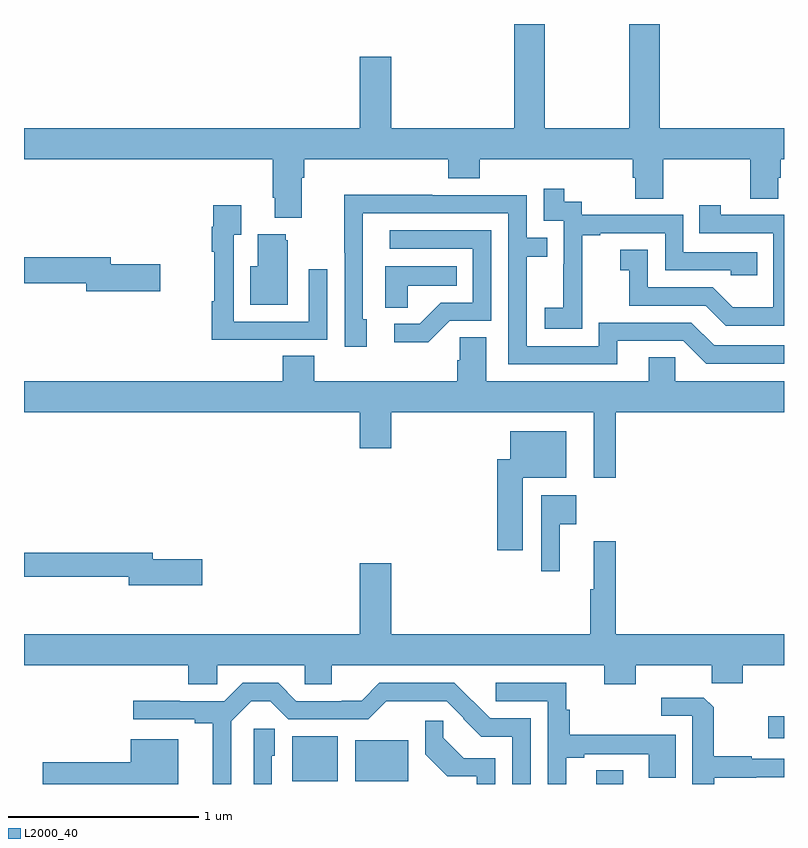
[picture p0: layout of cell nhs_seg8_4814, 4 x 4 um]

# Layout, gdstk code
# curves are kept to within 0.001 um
import gdstk
lib = gdstk.Library(unit=1e-6, precision=1e-09)
def R(c, l, rs):  # rectangles x0, y0, x1, y1
    for r in rs: c.add(gdstk.rectangle(r[:2], r[2:], *l))
def P(c, l, *ps):  # polygons
    for p in ps: c.add(gdstk.Polygon(p, *l))
L2000_40 = (2000, 40)

nhs_seg8_4814 = lib.new_cell('nhs_seg8_4814')
R(nhs_seg8_4814, L2000_40, [(406.013,1091.9,406.153,1091.972), (404.411,1091.915,404.65,1092.151), (404.744,1091.915,405.022,1092.13), (406.917,1092.141,407,1092.256)])
P(nhs_seg8_4814, L2000_40, [(404.461,1095.092),(404.474,1095.092),(404.474,1095.188),(405.233,1095.188),(405.233,1095.089),(405.398,1095.089),(405.398,1095.188),(406.205,1095.188),(406.205,1095.09),(406.217,1095.09),(406.217,1094.98),(406.365,1094.98),(406.365,1095.188),(406.822,1095.188),(406.822,1094.98),(406.969,1094.98),(406.969,1095.09),(406.982,1095.09),(406.982,1095.188),(407,1095.188),(407,1095.352),(406.346,1095.352),(406.346,1095.9),(406.186,1095.9),(406.186,1095.352),(405.741,1095.352),(405.741,1095.9),(405.581,1095.9),(405.581,1095.352),(404.932,1095.352),(404.932,1095.727),(404.768,1095.727),(404.768,1095.352),(403,1095.352),(403,1095.188),(404.309,1095.188),(404.309,1094.986),(404.321,1094.986),(404.321,1094.879),(404.461,1094.879)],
  [(405.939,1094.503),(405.938,1094.503),(405.938,1094.787),(406.033,1094.787),(406.033,1094.799),(406.374,1094.799),(406.374,1094.604),(406.719,1094.604),(406.719,1094.577),(406.859,1094.577),(406.859,1094.7),(406.47,1094.7),(406.47,1094.895),(405.936,1094.895),(405.936,1094.964),(405.844,1094.964),(405.844,1095.034),(405.735,1095.034),(405.735,1094.865),(405.84,1094.865),(405.84,1094.636),(405.839,1094.636),(405.839,1094.407),(405.741,1094.407),(405.741,1094.297),(405.939,1094.297)],
  [(406.123,1094.232),(406.47,1094.232),(406.59,1094.112),(407,1094.112),(407,1094.208),(406.632,1094.208),(406.512,1094.328),(406.026,1094.328),(406.026,1094.205),(405.645,1094.205),(405.645,1094.674),(405.755,1094.674),(405.755,1094.775),(405.645,1094.775),(405.645,1095),(405.149,1095),(405.149,1095.002),(404.686,1095.002),(404.686,1094.695),(404.688,1094.695),(404.688,1094.202),(404.803,1094.202),(404.803,1094.346),(404.784,1094.346),(404.784,1094.904),(405.549,1094.904),(405.549,1094.109),(406.123,1094.109)],
  [(404.279,1094.238),(404.595,1094.238),(404.595,1094.608),(404.499,1094.608),(404.499,1094.334),(404.103,1094.334),(404.103,1094.791),(404.143,1094.791),(404.143,1094.947),(403.995,1094.947),(403.995,1094.834),(403.987,1094.834),(403.987,1094.702),(404.002,1094.702),(404.002,1094.441),(403.987,1094.441),(403.987,1094.237),(404.279,1094.237)],
  [(407,1094.895),(406.666,1094.895),(406.666,1094.947),(406.555,1094.947),(406.555,1094.799),(406.944,1094.799),(406.944,1094.41),(406.73,1094.41),(406.626,1094.514),(406.284,1094.514),(406.284,1094.713),(406.137,1094.713),(406.137,1094.603),(406.186,1094.603),(406.186,1094.418),(406.589,1094.418),(406.694,1094.313),(407,1094.313)],
  [(405.24,1094.337),(405.459,1094.337),(405.459,1094.814),(404.925,1094.814),(404.925,1094.718),(405.363,1094.718),(405.363,1094.433),(405.194,1094.433),(405.083,1094.322),(404.949,1094.322),(404.949,1094.225),(405.127,1094.225)],
  [(404.389,1094.763),(404.378,1094.763),(404.378,1094.794),(404.231,1094.794),(404.231,1094.626),(404.192,1094.626),(404.192,1094.423),(404.389,1094.423)],
  [(403.717,1094.636),(403.456,1094.636),(403.456,1094.672),(403,1094.672),(403,1094.536),(403.328,1094.536),(403.328,1094.494),(403.717,1094.494)],
  [(405.021,1094.522),(405.278,1094.522),(405.278,1094.626),(404.9,1094.626),(404.9,1094.407),(405.021,1094.407)],
  [(406.115,1093.856),(407,1093.856),(407,1094.02),(406.428,1094.02),(406.428,1094.147),(406.289,1094.147),(406.289,1094.02),(405.433,1094.02),(405.433,1094.252),(405.294,1094.252),(405.294,1094.129),(405.281,1094.129),(405.281,1094.02),(404.528,1094.02),(404.528,1094.153),(404.363,1094.153),(404.363,1094.02),(403,1094.02),(403,1093.856),(404.768,1093.856),(404.768,1093.668),(404.932,1093.668),(404.932,1093.856),(405.998,1093.856),(405.998,1093.512),(406.115,1093.512)],
  [(405.625,1093.511),(405.853,1093.511),(405.853,1093.756),(405.56,1093.756),(405.56,1093.608),(405.491,1093.608),(405.491,1093.131),(405.625,1093.131)],
  [(405.821,1093.268),(405.907,1093.268),(405.907,1093.42),(405.723,1093.42),(405.723,1093.02),(405.821,1093.02)],
  [(406.219,1092.524),(406.619,1092.524),(406.619,1092.431),(406.783,1092.431),(406.783,1092.524),(407,1092.524),(407,1092.688),(406.115,1092.688),(406.115,1093.177),(405.998,1093.177),(405.998,1092.924),(405.979,1092.924),(405.979,1092.688),(404.932,1092.688),(404.932,1093.063),(404.768,1093.063),(404.768,1092.688),(403,1092.688),(403,1092.524),(403.865,1092.524),(403.865,1092.426),(404.016,1092.426),(404.016,1092.524),(404.478,1092.524),(404.478,1092.426),(404.62,1092.426),(404.62,1092.524),(406.055,1092.524),(406.055,1092.425),(406.219,1092.425)],
  [(403.939,1093.082),(403.678,1093.082),(403.678,1093.118),(403,1093.118),(403,1092.99),(403.55,1092.99),(403.55,1092.947),(403.939,1092.947)],
  [(405.853,1092.037),(405.949,1092.037),(405.949,1092.057),(406.289,1092.057),(406.289,1091.932),(406.429,1091.932),(406.429,1092.158),(405.872,1092.158),(405.872,1092.29),(405.854,1092.29),(405.854,1092.432),(405.483,1092.432),(405.483,1092.336),(405.756,1092.336),(405.756,1091.9),(405.853,1091.9)],
  [(404.091,1092.231),(404.195,1092.335),(404.296,1092.335),(404.391,1092.24),(404.811,1092.24),(404.906,1092.335),(405.225,1092.336),(405.315,1092.246),(405.313,1092.244),(405.407,1092.15),(405.57,1092.15),(405.57,1091.9),(405.666,1091.9),(405.666,1092.246),(405.453,1092.246),(405.265,1092.432),(404.871,1092.432),(404.777,1092.338),(404.672,1092.338),(404.672,1092.336),(404.433,1092.336),(404.337,1092.432),(404.15,1092.432),(404.054,1092.336),(403.821,1092.336),(403.821,1092.338),(403.575,1092.338),(403.575,1092.24),(403.898,1092.24),(403.898,1092.22),(403.994,1092.22),(403.994,1091.9),(404.091,1091.9)],
  [(406.634,1091.932),(406.853,1091.932),(406.853,1091.936),(407,1091.936),(407,1092.033),(406.829,1092.033),(406.829,1092.046),(406.629,1092.046),(406.629,1092.303),(406.577,1092.355),(406.353,1092.355),(406.353,1092.258),(406.518,1092.258),(406.518,1091.9),(406.634,1091.9)],
  [(405.48,1092.036),(405.314,1092.036),(405.206,1092.144),(405.206,1092.232),(405.111,1092.232),(405.111,1092.056),(405.227,1091.94),(405.384,1091.94),(405.384,1091.9),(405.48,1091.9)],
  [(404.304,1092.048),(404.32,1092.048),(404.32,1092.191),(404.208,1092.191),(404.208,1091.9),(404.304,1091.9)],
  [(403.813,1092.136),(403.562,1092.136),(403.562,1092.014),(403.098,1092.014),(403.098,1091.9),(403.813,1091.9)])

lib.write_gds('nhs_seg8_4814.gds')
